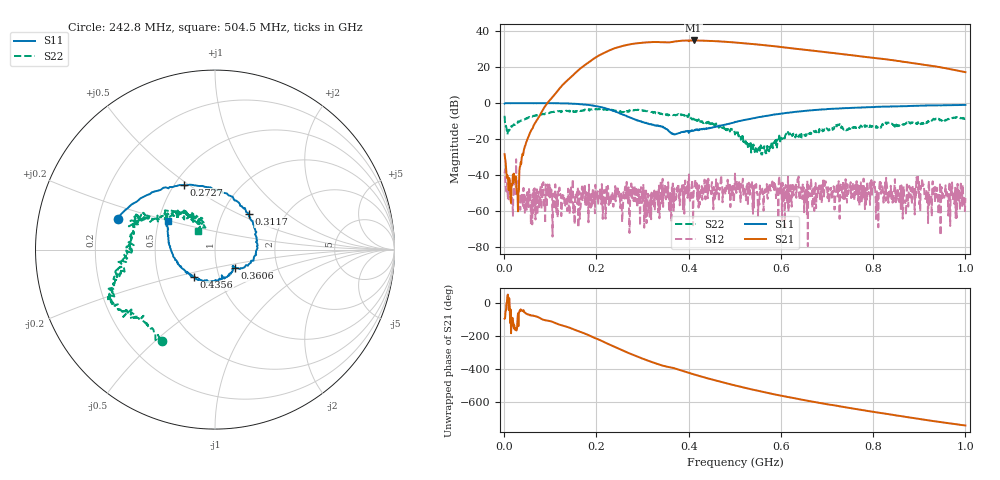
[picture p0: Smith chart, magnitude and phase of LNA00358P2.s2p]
! Created with skrf 1.9.0 (http://scikit-rf.org).
# Hz S RI R 50.0
!freq ReS11 ImS11 ReS21 ImS21 ReS12 ImS12 ReS22 ImS22
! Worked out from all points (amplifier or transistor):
!   1001 points, 1 MHz to 1 GHz, reference 50 ohm
!   highest |S21| = 34.9 dB at 410.6 MHz (marker M1)
!   |S21| within 3 dB of that: 257.4 MHz to 578.7 MHz (321.4 MHz wide, 76.9 % of centre)
!   unconditionally stable (mu >= 1): 265.9 MHz to 400.5 MHz; 400.7 MHz to 896.9 MHz; 897.1 MHz to end of sweep (the widest 3 of 33)
!   at 166.8 MHz: K = 1.35, MAG = 32.8 dB, |S12| = -53.1 dB
!   at 500.5 MHz: K = 1.06, MAG = 35.0 dB, |S12| = -39.2 dB
!   at 1 GHz: K = 5.22, MAG = 24.9 dB, |S12| = -52.8 dB
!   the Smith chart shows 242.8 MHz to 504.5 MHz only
!   S11 on the Smith chart (normalised r, x): 242.8 MHz: 0.28, +0.14; 272.7 MHz: 0.56, +0.48; 311.7 MHz: 1.32, +0.57; 360.6 MHz: 1.23, -0.26; 435.6 MHz: 0.76, -0.24; 504.5 MHz: 0.56, +0.19
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1000000  0.9684 0.00232  -0.00272 -0.0378  0.00387 0.0104  0.3271 0.2997
1.08892e8  0.5095 -0.8547  -0.7941 -1.503  -0.000853 0.00131  0.4367 -0.3591
1.67833e8  -0.2531 -0.8938  -9.758 -0.6149  -0.0029 0.00248  0.0675 -0.6019
2.09791e8  -0.6885 -0.3613  -15.42 16.51  -0.00333 0.00189  -0.1805 -0.6684
2.42758e8  -0.5428 0.1704  -0.2492 34.44  -0.0027 -0.00132  -0.2975 -0.5111
2.72728e8  -0.1718 0.3596  25.38 35.09  4.17e-05 0.00112  -0.521 -0.3433
2.92708e8  0.051 0.3159  39.89 24.54  -0.00162 -0.000194  -0.5862 -0.2663
3.11689e8  0.1882 0.199  47.88 9.764  -0.00188 0.00236  -0.5733 -0.1837
3.34666e8  0.2377 0.00884  48.98 -9.588  -0.0031 0.00207  -0.5217 -0.0663
3.6064e8  0.1131 -0.1024  42.92 -24.51  -0.00152 0.00278  -0.4738 0.0734
3.8062e8  0.0974 -0.1116  37.91 -38.37  -0.00105 0.000992  -0.4441 0.161
4.1059e8  -0.000313 -0.1721  17.32 -52.51  0.00165 0.00199  -0.3169 0.1769
4.35565e8  -0.1164 -0.1542  -1.779 -54.3  0.00182 0.00288  -0.2161 0.201
4.69531e8  -0.2338 -0.0287  -23.81 -45.87  0.00713 -0.00137  -0.0972 0.1838
5.005e8  -0.2707 0.1327  -37.21 -31.66  0.00815 0.00737  -0.0534 0.1226
5.04496e8  -0.2604 0.1572  -37.82 -29.46  0.00637 -0.00258  -0.0966 0.1045
5.42458e8  -0.1835 0.3384  -42.24 -9.741  0.00396 -0.000936  -0.0354 0.0389
5.88412e8  0.0171 0.484  -36.53 9.967  0.000268 -0.00483  -0.0717 -0.0594
6.67333e8  0.3947 0.4945  -15.53 24.24  0.00208 -0.00301  -0.1329 -0.0667
7.53247e8  0.6816 0.2798  3.143 21.2  -0.000231 -0.00489  -0.186 -0.0393
8.34166e8  0.8014 0.00768  11.28 11.5  -0.00332 -0.000749  -0.2752 -0.0919
1e9  0.7201 -0.5311  6.717 -2.801  0.00115 0.00198  -0.3715 0.0236
